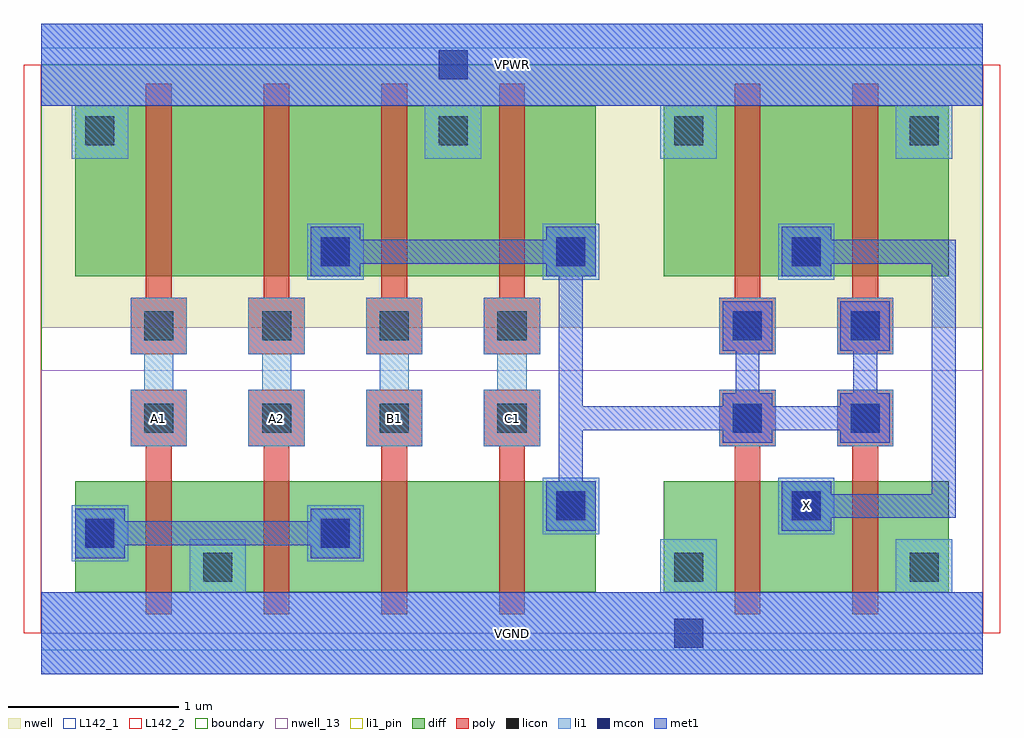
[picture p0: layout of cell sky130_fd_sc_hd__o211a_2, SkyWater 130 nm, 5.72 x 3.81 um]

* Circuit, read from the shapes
.subckt sky130_fd_sc_hd__o211a_2 A1 A2 B1 C1 VGND VPWR X
XM1 VGND A1 n1 VSUBS sky130_fd_pr__nfet_01v8 w=0.65 l=0.15
XM2 n1 A2 VGND VSUBS sky130_fd_pr__nfet_01v8 w=0.65 l=0.15
XM3 n2 B1 n1 VSUBS sky130_fd_pr__nfet_01v8 w=0.65 l=0.15
XM4 n3 C1 n2 VSUBS sky130_fd_pr__nfet_01v8 w=0.65 l=0.15
XM5 X n3 VGND VSUBS sky130_fd_pr__nfet_01v8 w=0.65 l=0.15 m=2
XM6 n4 A1 VPWR n5 sky130_fd_pr__pfet_01v8 w=1 l=0.15
XM7 n3 A2 n4 n5 sky130_fd_pr__pfet_01v8 w=1 l=0.15
XM8 VPWR B1 n3 n5 sky130_fd_pr__pfet_01v8 w=1 l=0.15
XM9 n3 C1 VPWR n5 sky130_fd_pr__pfet_01v8 w=1 l=0.15
XM10 X n3 VPWR n5 sky130_fd_pr__pfet_01v8 w=1 l=0.15 m=2
.ends

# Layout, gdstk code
import gdstk
lib = gdstk.Library(unit=1e-6, precision=1e-09)
def R(c, l, rs):  # rectangles x0, y0, x1, y1
    for r in rs: c.add(gdstk.rectangle(r[:2], r[2:], *l))
def A(c, l, x, y, w, h, nx, ny, dx, dy):  # array of equal rectangles
    R(c, l, [(x+i*dx, y+j*dy, x+i*dx+w, y+j*dy+h) for i in range(nx) for j in range(ny)])
def P(c, l, *ps):  # polygons
    for p in ps: c.add(gdstk.Polygon(p, *l))
nwell_13 = (64, 13)
nwell = (64, 20)
diff = (65, 20)
poly = (66, 20)
licon = (66, 44)
li1_pin = (67, 16)
li1 = (67, 20)
mcon = (67, 44)
met1 = (68, 20)
L142_1 = (142, 1)
L142_2 = (142, 2)
boundary = (235, 4)

sky130_fd_sc_hd__o211a_2 = lib.new_cell('sky130_fd_sc_hd__o211a_2')
R(sky130_fd_sc_hd__o211a_2, nwell_13, [(0,0,5.52,1.54)])
R(sky130_fd_sc_hd__o211a_2, nwell, [(0,1.79,5.52,3.33)])
A(sky130_fd_sc_hd__o211a_2, diff, 0.615, 0.24, 0.69, 0.65, 3, 1, 0.69, 0)
A(sky130_fd_sc_hd__o211a_2, diff, 0.615, 2.09, 0.69, 1, 3, 1, 0.69, 0)
R(sky130_fd_sc_hd__o211a_2, diff, [(0.2,0.24,3.25,0.89), (0.2,0.24,0.615,0.89), (2.685,0.24,3.25,0.89), (3.65,0.24,5.32,0.89), (3.65,0.24,4.065,0.89), (4.065,0.24,4.755,0.89), (4.755,0.24,5.32,0.89), (0.2,2.09,3.25,3.09), (0.2,2.09,0.615,3.09), (2.685,2.09,3.25,3.09), (3.65,2.09,5.32,3.09), (3.65,2.09,4.065,3.09), (4.065,2.09,4.755,3.09), (4.755,2.09,5.32,3.09)])
P(sky130_fd_sc_hd__o211a_2, poly, [(4.065,0.11),(4.065,1.095),(3.975,1.095),(3.975,1.425),(4.305,1.425),(4.305,1.095),(4.215,1.095),(4.215,0.11)],
  [(4.755,0.11),(4.755,1.095),(4.665,1.095),(4.665,1.425),(4.995,1.425),(4.995,1.095),(4.905,1.095),(4.905,0.11)],
  [(3.975,1.635),(3.975,1.965),(4.065,1.965),(4.065,3.22),(4.215,3.22),(4.215,1.965),(4.305,1.965),(4.305,1.635)],
  [(4.665,1.635),(4.665,1.965),(4.755,1.965),(4.755,3.22),(4.905,3.22),(4.905,1.965),(4.995,1.965),(4.995,1.635)],
  [(1.305,0.11),(1.305,1.095),(1.215,1.095),(1.215,1.425),(1.545,1.425),(1.545,1.095),(1.455,1.095),(1.455,0.11)],
  [(1.215,1.635),(1.215,1.965),(1.305,1.965),(1.305,3.22),(1.455,3.22),(1.455,1.965),(1.545,1.965),(1.545,1.635)],
  [(0.615,0.11),(0.615,1.095),(0.525,1.095),(0.525,1.425),(0.855,1.425),(0.855,1.095),(0.765,1.095),(0.765,0.11)],
  [(0.525,1.635),(0.525,1.965),(0.615,1.965),(0.615,3.22),(0.765,3.22),(0.765,1.965),(0.855,1.965),(0.855,1.635)],
  [(2.685,0.11),(2.685,1.095),(2.595,1.095),(2.595,1.425),(2.925,1.425),(2.925,1.095),(2.835,1.095),(2.835,0.11)],
  [(2.595,1.635),(2.595,1.965),(2.685,1.965),(2.685,3.22),(2.835,3.22),(2.835,1.965),(2.925,1.965),(2.925,1.635)],
  [(1.995,0.11),(1.995,1.095),(1.905,1.095),(1.905,1.425),(2.235,1.425),(2.235,1.095),(2.145,1.095),(2.145,0.11)],
  [(1.905,1.635),(1.905,1.965),(1.995,1.965),(1.995,3.22),(2.145,3.22),(2.145,1.965),(2.235,1.965),(2.235,1.635)])
A(sky130_fd_sc_hd__o211a_2, licon, 0.605, 1.175, 0.17, 0.17, 4, 2, 0.69, 0.54)
A(sky130_fd_sc_hd__o211a_2, licon, 1.64, 2.15, 0.17, 0.17, 3, 1, 1.38, 0)
A(sky130_fd_sc_hd__o211a_2, licon, 2.33, 2.86, 0.17, 0.17, 3, 1, 1.38, 0)
R(sky130_fd_sc_hd__o211a_2, licon, [(0.95,0.3,1.12,0.47), (3.71,0.3,3.88,0.47), (5.09,0.3,5.26,0.47), (0.26,0.5,0.43,0.67), (1.64,0.5,1.81,0.67), (3.02,0.66,3.19,0.83), (4.4,0.66,4.57,0.83), (4.055,1.175,4.225,1.345), (4.745,1.175,4.915,1.345), (4.055,1.715,4.225,1.885), (4.745,1.715,4.915,1.885), (0.26,2.86,0.43,3.03)])
R(sky130_fd_sc_hd__o211a_2, li1_pin, [(0,-0.24,5.52,0.24), (4.32,0.58,4.65,0.91), (0,3.09,5.52,3.57)])
P(sky130_fd_sc_hd__o211a_2, li1_pin, [(2.595,1.095),(2.595,1.425),(2.675,1.425),(2.675,1.635),(2.595,1.635),(2.595,1.965),(2.925,1.965),(2.925,1.635),(2.845,1.635),(2.845,1.425),(2.925,1.425),(2.925,1.095)],
  [(1.215,1.095),(1.215,1.425),(1.295,1.425),(1.295,1.635),(1.215,1.635),(1.215,1.965),(1.545,1.965),(1.545,1.635),(1.465,1.635),(1.465,1.425),(1.545,1.425),(1.545,1.095)],
  [(0.525,1.095),(0.525,1.425),(0.605,1.425),(0.605,1.635),(0.525,1.635),(0.525,1.965),(0.855,1.965),(0.855,1.635),(0.775,1.635),(0.775,1.425),(0.855,1.425),(0.855,1.095)],
  [(1.905,1.095),(1.905,1.425),(1.985,1.425),(1.985,1.635),(1.905,1.635),(1.905,1.965),(2.235,1.965),(2.235,1.635),(2.155,1.635),(2.155,1.425),(2.235,1.425),(2.235,1.095)])
A(sky130_fd_sc_hd__o211a_2, li1, 1.56, 2.07, 0.33, 0.33, 3, 1, 1.38, 0)
R(sky130_fd_sc_hd__o211a_2, li1, [(0.18,0.42,0.51,0.75), (1.56,0.42,1.89,0.75), (2.94,0.58,3.27,0.91), (4.32,0.58,4.65,0.91), (3.975,1.095,4.305,1.425), (4.665,1.095,4.995,1.425), (3.975,1.635,4.305,1.965), (4.665,1.635,4.995,1.965)])
P(sky130_fd_sc_hd__o211a_2, li1, [(1.215,1.095),(1.215,1.425),(1.295,1.425),(1.295,1.635),(1.215,1.635),(1.215,1.965),(1.545,1.965),(1.545,1.635),(1.465,1.635),(1.465,1.425),(1.545,1.425),(1.545,1.095)],
  [(0.18,2.78),(0.18,3.09),(0,3.09),(0,3.57),(5.52,3.57),(5.52,3.09),(5.34,3.09),(5.34,2.78),(5.01,2.78),(5.01,3.09),(3.96,3.09),(3.96,2.78),(3.63,2.78),(3.63,3.09),(2.58,3.09),(2.58,2.78),(2.25,2.78),(2.25,3.09),(0.51,3.09),(0.51,2.78)],
  [(0.525,1.095),(0.525,1.425),(0.605,1.425),(0.605,1.635),(0.525,1.635),(0.525,1.965),(0.855,1.965),(0.855,1.635),(0.775,1.635),(0.775,1.425),(0.855,1.425),(0.855,1.095)],
  [(0,-0.24),(0,0.24),(0.87,0.24),(0.87,0.55),(1.2,0.55),(1.2,0.24),(3.63,0.24),(3.63,0.55),(3.96,0.55),(3.96,0.24),(5.01,0.24),(5.01,0.55),(5.34,0.55),(5.34,0.24),(5.52,0.24),(5.52,-0.24)],
  [(2.595,1.095),(2.595,1.425),(2.675,1.425),(2.675,1.635),(2.595,1.635),(2.595,1.965),(2.925,1.965),(2.925,1.635),(2.845,1.635),(2.845,1.425),(2.925,1.425),(2.925,1.095)],
  [(1.905,1.095),(1.905,1.425),(1.985,1.425),(1.985,1.635),(1.905,1.635),(1.905,1.965),(2.235,1.965),(2.235,1.635),(2.155,1.635),(2.155,1.425),(2.235,1.425),(2.235,1.095)])
A(sky130_fd_sc_hd__o211a_2, mcon, 1.64, 2.15, 0.17, 0.17, 3, 1, 1.38, 0)
R(sky130_fd_sc_hd__o211a_2, mcon, [(3.71,-0.085,3.88,0.085), (0.26,0.5,0.43,0.67), (1.64,0.5,1.81,0.67), (3.02,0.66,3.19,0.83), (4.4,0.66,4.57,0.83), (4.055,1.175,4.225,1.345), (4.745,1.175,4.915,1.345), (4.055,1.715,4.225,1.885), (4.745,1.715,4.915,1.885), (2.33,3.245,2.5,3.415)])
R(sky130_fd_sc_hd__o211a_2, met1, [(0,-0.24,5.52,0.24), (0,3.09,5.52,3.57)])
P(sky130_fd_sc_hd__o211a_2, met1, [(2.96,0.6),(2.96,0.89),(3.035,0.89),(3.035,2.09),(2.96,2.09),(2.96,2.165),(1.87,2.165),(1.87,2.09),(1.58,2.09),(1.58,2.38),(1.87,2.38),(1.87,2.305),(2.96,2.305),(2.96,2.38),(3.25,2.38),(3.25,2.09),(3.175,2.09),(3.175,1.33),(3.995,1.33),(3.995,1.405),(4.07,1.405),(4.07,1.655),(3.995,1.655),(3.995,1.945),(4.285,1.945),(4.285,1.655),(4.21,1.655),(4.21,1.405),(4.285,1.405),(4.285,1.33),(4.685,1.33),(4.685,1.405),(4.76,1.405),(4.76,1.655),(4.685,1.655),(4.685,1.945),(4.975,1.945),(4.975,1.655),(4.9,1.655),(4.9,1.405),(4.975,1.405),(4.975,1.115),(4.685,1.115),(4.685,1.19),(4.285,1.19),(4.285,1.115),(3.995,1.115),(3.995,1.19),(3.175,1.19),(3.175,0.89),(3.25,0.89),(3.25,0.6)],
  [(0.2,0.44),(0.2,0.73),(0.49,0.73),(0.49,0.655),(1.58,0.655),(1.58,0.73),(1.87,0.73),(1.87,0.44),(1.58,0.44),(1.58,0.515),(0.49,0.515),(0.49,0.44)],
  [(4.34,0.6),(4.34,0.89),(4.63,0.89),(4.63,0.815),(5.22,0.815),(5.22,2.165),(4.63,2.165),(4.63,2.09),(4.34,2.09),(4.34,2.38),(4.63,2.38),(4.63,2.305),(5.36,2.305),(5.36,0.675),(4.63,0.675),(4.63,0.6)])
R(sky130_fd_sc_hd__o211a_2, L142_1, [(0,-0.1,5.52,0), (0,3.33,5.52,3.43)])
R(sky130_fd_sc_hd__o211a_2, L142_2, [(-0.1,0,0,3.33), (5.52,0,5.62,3.33)])
R(sky130_fd_sc_hd__o211a_2, boundary, [(0,0,5.52,3.33)])
sky130_fd_sc_hd__o211a_2.add(gdstk.Label('X', (4.485,0.745), layer=67, texttype=5))
sky130_fd_sc_hd__o211a_2.add(gdstk.Label('C1', (2.76,1.26), layer=67, texttype=5))
sky130_fd_sc_hd__o211a_2.add(gdstk.Label('A2', (1.38,1.26), layer=67, texttype=5))
sky130_fd_sc_hd__o211a_2.add(gdstk.Label('A1', (0.69,1.26), layer=67, texttype=5))
sky130_fd_sc_hd__o211a_2.add(gdstk.Label('B1', (2.07,1.26), layer=67, texttype=5))
sky130_fd_sc_hd__o211a_2.add(gdstk.Label('VGND', (2.76,0), layer=67, texttype=5))
sky130_fd_sc_hd__o211a_2.add(gdstk.Label('VPWR', (2.76,3.33), layer=67, texttype=5))
sky130_fd_sc_hd__o211a_2.add(gdstk.Label('VGND', (2.76,0), layer=68, texttype=5))
sky130_fd_sc_hd__o211a_2.add(gdstk.Label('VPWR', (2.76,3.33), layer=68, texttype=5))

lib.write_gds('sky130_fd_sc_hd__o211a_2.gds')
